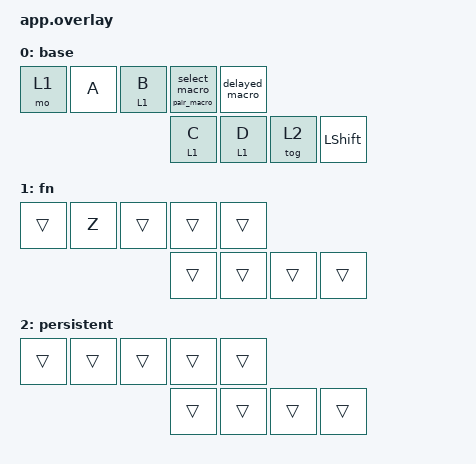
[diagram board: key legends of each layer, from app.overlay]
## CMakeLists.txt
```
cmake_minimum_required(VERSION 3.20.0)
list(APPEND DTS_ROOT "${CMAKE_CURRENT_SOURCE_DIR}/../../../app")
list(APPEND DTS_ROOT "${CMAKE_CURRENT_SOURCE_DIR}/../..")
get_filename_component(ZMK_APP "${CMAKE_CURRENT_SOURCE_DIR}/../../../app" ABSOLUTE)
# Zephyr assembles application-defined syscall parser inputs while find_package()
# runs. Seed the parser include path without replacing the test application's
# source directory (which must remain the test fixture for Kconfig discovery).
set(SYSCALL_INCLUDE_DIRS "${ZMK_APP}/include")
set(CONFIG_APPLICATION_DEFINED_SYSCALL true)
find_package(Zephyr REQUIRED HINTS $ENV{ZEPHYR_BASE})
project(k380_shutdown_behavior)

zephyr_syscall_include_directories("${ZMK_APP}/include")
zephyr_syscall_header(${ZMK_APP}/include/drivers/behavior.h)
zephyr_linker_sources(SECTIONS ${ZMK_APP}/include/linker/zmk-behaviors.ld)
zephyr_linker_sources(RODATA ${ZMK_APP}/include/linker/zmk-events.ld)
target_include_directories(app PRIVATE ../../include ${ZMK_APP}/include)
target_sources(app PRIVATE src/main.c ../../src/low_power.c
  ${ZMK_APP}/src/behavior.c ${ZMK_APP}/src/event_manager.c
  ${ZMK_APP}/src/shutdown_input.c
  src/hold_tap_fixture.c
  ${ZMK_APP}/src/hid.c ${ZMK_APP}/src/hid_listener.c
  ${ZMK_APP}/src/keymap.c ${ZMK_APP}/src/behavior_queue.c
  ${ZMK_APP}/src/behaviors/behavior_key_press.c
  ${ZMK_APP}/src/behaviors/behavior_momentary_layer.c
  ${ZMK_APP}/src/behaviors/behavior_toggle_layer.c
  ${ZMK_APP}/src/behaviors/behavior_transparent.c
  ${ZMK_APP}/src/behaviors/behavior_macro.c
  ${ZMK_APP}/src/behaviors/behavior_bt.c
  ${ZMK_APP}/src/events/position_state_changed.c
  ${ZMK_APP}/src/events/keycode_state_changed.c
  ${ZMK_APP}/src/events/layer_state_changed.c)
target_compile_definitions(app PRIVATE
  CONFIG_K380_LOW_POWER_TEST=1 CONFIG_K380_LOW_POWER_COORDINATOR=1
  CONFIG_ZMK_BEHAVIOR_HOLD_TAP=1 CONFIG_ZMK_BEHAVIOR_MACRO=1
  CONFIG_ZMK_BEHAVIOR_HOLD_TAP_MAX_HELD=10
  CONFIG_ZMK_BEHAVIOR_HOLD_TAP_MAX_CAPTURED_EVENTS=40
  CONFIG_ZMK_BEHAVIORS_QUEUE_SIZE=64
  CONFIG_ZMK_MACRO_DEFAULT_WAIT_MS=0 CONFIG_ZMK_MACRO_DEFAULT_TAP_MS=1
  CONFIG_ZMK_LOG_LEVEL=0 CONFIG_ZMK_HID_REPORT_TYPE_HKRO=1
  CONFIG_ZMK_HID_KEYBOARD_REPORT_SIZE=6 CONFIG_ZMK_HID_CONSUMER_REPORT_SIZE=6
  CONFIG_ZMK_HID_CONSUMER_REPORT_USAGES_FULL=1)
```

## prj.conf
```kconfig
CONFIG_ZTEST=y
CONFIG_APPLICATION_DEFINED_SYSCALL=y
CONFIG_K380_AUTO_SYSTEM_OFF=y
CONFIG_MAIN_STACK_SIZE=4096
CONFIG_SYSTEM_WORKQUEUE_STACK_SIZE=4096
```

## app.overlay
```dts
#include <dt-bindings/zmk/keys.h>
#include <dt-bindings/zmk/bt.h>
#include <dt-bindings/zmk/matrix_transform.h>
#include <behaviors/key_press.dtsi>
#include <behaviors/momentary_layer.dtsi>
#include <behaviors/toggle_layer.dtsi>
#include <behaviors/transparent.dtsi>
#include <behaviors/bluetooth.dtsi>
#include <behaviors/macros.dtsi>

/ {
    chosen { zmk,matrix-transform = &test_transform; };
    test_transform: test_transform {
        compatible = "zmk,matrix-transform";
        rows = <1>;
        columns = <9>;
        map = <RC(0,0) RC(0,1) RC(0,2) RC(0,3) RC(0,4)
               RC(0,5) RC(0,6) RC(0,7) RC(0,8)>;
    };
    behaviors {
        test_ht: test_ht {
            compatible = "zmk,behavior-hold-tap";
            #binding-cells = <2>;
            tapping-term-ms = <100>;
            flavor = "tap-preferred";
            bindings = <&mo>, <&kp>;
        };
        test_hwu: test_hwu {
            compatible = "zmk,behavior-hold-tap";
            #binding-cells = <2>;
            tapping-term-ms = <100>;
            flavor = "tap-preferred";
            hold-while-undecided;
            hold-while-undecided-linger;
            bindings = <&mo>, <&kp>;
        };
        test_retro: test_retro {
            compatible = "zmk,behavior-hold-tap";
            #binding-cells = <2>;
            tapping-term-ms = <100>;
            flavor = "tap-preferred";
            retro-tap;
            bindings = <&mo>, <&kp>;
        };
        bt_ht: bt_ht {
            compatible = "zmk,behavior-hold-tap";
            #binding-cells = <2>;
            tapping-term-ms = <100>;
            flavor = "tap-preferred";
            bindings = <&pair_macro>, <&select_macro>;
        };
        pair_macro: pair_macro {
            compatible = "zmk,behavior-macro-one-param";
            #binding-cells = <1>;
            bindings = <&bt BT_SEL 1>, <&bt BT_CLR>;
        };
        select_macro: select_macro {
            compatible = "zmk,behavior-macro-one-param";
            #binding-cells = <1>;
            bindings = <&bt BT_SEL 1>;
        };
        delayed_macro: delayed_macro {
            compatible = "zmk,behavior-macro";
            #binding-cells = <0>;
            bindings = <&macro_press>, <&macro_wait_time 200>, <&mo 1>,
                       <&macro_tap>, <&bt BT_SEL 1>, <&bt BT_CLR>;
        };
    };
    keymap {
        compatible = "zmk,keymap";
        base {
            bindings = <&mo 1 &kp A &test_ht 1 B &bt_ht 0 0 &delayed_macro
                        &test_hwu 1 C &test_retro 1 D &tog 2 &kp LSHIFT>;
        };
        fn {
            bindings = <&trans &kp Z &trans &trans &trans &trans &trans &trans &trans>;
        };
        persistent {
            bindings = <&trans &trans &trans &trans &trans &trans &trans &trans &trans>;
        };
    };
};
```

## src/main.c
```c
#include <errno.h>
#include <zephyr/ztest.h>
#include <zephyr/logging/log.h>
#include <dt-bindings/zmk/keys.h>
#include <dt-bindings/zmk/hid_usage.h>
#include <zmk/ble.h>
#include <zmk/behavior.h>
#include <zmk/behavior_queue.h>
#include <zmk/keymap.h>
#include <zmk/hid.h>
#include <zmk/shutdown_input.h>
#include <zmk/events/position_state_changed.h>
#include <zmk/events/keycode_state_changed.h>
#include <zmk_keyboard_k380/low_power.h>

LOG_MODULE_REGISTER(zmk, 0);

static int reports;
static int selects;
static int bond_writes;
static int quiet_presses;
static int b_presses;
static int abort_error;
static bool cancel_during_abort;
void shutdown_test_wait_timer_running(uint32_t position);

/* Only hardware/transport boundaries are replaced; keymap, dispatch, hold-tap,
 * macro, queue, event subscriptions and HID accounting are production sources. */
int zmk_physical_layouts_get_selected_to_stock_position_map(const uint32_t **map) {
    static const uint32_t positions[] = {0, 1, 2, 3, 4, 5, 6, 7, 8};
    *map = positions;
    return ARRAY_SIZE(positions);
}
void zmk_physical_layouts_abort_input(void) {}
int zmk_endpoint_send_report(uint16_t page) {
    ARG_UNUSED(page);
    reports++;
    return 0;
}
int k380_low_power_clear_hid(void) {
    zmk_hid_keyboard_clear_for_shutdown();
    zmk_hid_consumer_clear();
    return 0;
}
int k380_low_power_abort_input(void) {
    zassert_false(k380_low_power_input_events_allowed());
    if (abort_error) {
        return abort_error;
    }
    int ret = zmk_shutdown_input_abort();
    if (cancel_during_abort) {
        cancel_during_abort = false;
        k380_low_power_cancel_usb_pending();
        zassert_false(k380_low_power_input_events_allowed(), "cancel must await cleanup owner");
    }
    return ret;
}
int zmk_ble_prof_select(uint8_t slot) {
    ARG_UNUSED(slot);
    selects++;
    /* Reproduce the policy callback that formerly reopened quiet input. */
    k380_low_power_cancel_pending();
    return 0;
}
void zmk_ble_clear_bonds(void) { bond_writes++; }
void zmk_ble_clear_all_bonds(void) { bond_writes++; }
int zmk_ble_prof_next(void) { return zmk_ble_prof_select(1); }
int zmk_ble_prof_prev(void) { return zmk_ble_prof_select(0); }
int zmk_ble_prof_disconnect(uint8_t slot) { ARG_UNUSED(slot); return 0; }

static int observe_keycode(const zmk_event_t *eh) {
    const struct zmk_keycode_state_changed *ev = as_zmk_keycode_state_changed(eh);
    if (ev && ev->state && !k380_low_power_input_events_allowed()) {
        quiet_presses++;
    }
    if (ev && ev->state && ev->keycode == HID_USAGE_KEY_KEYBOARD_B) {
        b_presses++;
    }
    return ZMK_EV_EVENT_BUBBLE;
}
ZMK_LISTENER(shutdown_test_observer, observe_keycode);
ZMK_SUBSCRIPTION(shutdown_test_observer, zmk_keycode_state_changed);

static void position(uint32_t pos, bool pressed) {
    zassert_ok(raise_zmk_position_state_changed((struct zmk_position_state_changed){
        .source = ZMK_POSITION_STATE_CHANGE_SOURCE_LOCAL,
        .position = pos, .state = pressed, .timestamp = k_uptime_get()}));
}
static void begin_shutdown(void) {
    k380_low_power_test_set_all_keys_released(false);
    zassert_ok(k380_low_power_request(K380_SHUTDOWN_PAIRING_TIMEOUT));
    zassert_false(k380_low_power_input_events_allowed());
}
static void cancel_usb(void) {
    k380_low_power_cancel_usb_pending();
    zassert_true(k380_low_power_input_events_allowed());
}
static void assert_base_key(void) {
    position(1, true);
    zassert_true(zmk_hid_keyboard_is_pressed(HID_USAGE_KEY_KEYBOARD_A));
    zassert_false(zmk_hid_keyboard_is_pressed(HID_USAGE_KEY_KEYBOARD_Z));
    position(1, false);
}
static void reset(void *fixture) {
    ARG_UNUSED(fixture);
    abort_error = 0;
    cancel_during_abort = false;
    k380_low_power_test_reset();
    begin_shutdown();
    cancel_usb();
    zmk_keymap_layer_deactivate(1, true);
    zmk_keymap_layer_deactivate(2, true);
    reports = selects = bond_writes = quiet_presses = 0;
    b_presses = 0;
}

ZTEST(shutdown_behavior, test_fn_release_before_and_after_usb_cancel) {
    for (int before = 0; before < 2; before++) {
        position(0, true);
        zassert_true(zmk_keymap_layer_active(1));
        begin_shutdown();
        zassert_false(zmk_keymap_layer_active(1));
        int quiet_reports = reports;
        if (before) {
            position(0, false);
            k380_low_power_test_set_all_keys_released(true);
        }
        cancel_usb();
        if (!before) {
            position(0, false);
        }
        zassert_equal(reports, quiet_reports);
        assert_base_key();
    }
}

ZTEST(shutdown_behavior, test_undecided_and_decided_hold_taps_are_aborted) {
    for (int decided = 0; decided < 2; decided++) {
        position(2, true);
        if (decided) {
            k_msleep(130);
            zassert_true(zmk_keymap_layer_active(1));
        }
        begin_shutdown();
        position(2, false);
        k_msleep(130);
        zassert_false(zmk_keymap_layer_active(1));
        zassert_equal(quiet_presses, 0, "abort must never choose a tap");
        cancel_usb();
        assert_base_key();
    }
    /* Reuse more slots than the maximum held count, then verify a fresh tap. */
    for (int i = 0; i < 12; i++) {
        position(2, true);
        begin_shutdown();
        cancel_usb();
        position(2, false);
    }
    position(2, true);
    position(2, false);
    zassert_equal(b_presses, 1, "a fresh hold-tap must work after all aborted slots are reclaimed");
    zassert_equal(zmk_hid_get_keyboard_report()->body.modifiers, 0);
    zassert_false(zmk_keymap_layer_active(1));
    position(8, true);
    zassert_true(zmk_hid_keyboard_is_pressed(HID_USAGE_KEY_KEYBOARD_LEFTSHIFT));
    position(8, false);
    zassert_equal(zmk_hid_get_keyboard_report()->body.modifiers, 0);
}

ZTEST(shutdown_behavior, test_captured_other_position_is_discarded) {
    position(2, true);
    position(1, true);
    position(1, false);
    int before = reports;
    begin_shutdown();
    position(1, false);
    position(2, false);
    k_msleep(130);
    zassert_equal(reports, before);
    zassert_equal(quiet_presses, 0);
    cancel_usb();
    position(1, false); /* Captured down never received a behavior release. */
    zassert_equal(reports, before);
    assert_base_key();
}

ZTEST(shutdown_behavior, test_bt_timer_and_release_cannot_pair_select_or_cancel) {
    position(3, true);
    begin_shutdown();
    k_msleep(130);
    position(3, false);
    zassert_equal(selects, 0);
    zassert_equal(bond_writes, 0);
    zassert_false(k380_low_power_input_events_allowed());
    cancel_usb();
    k_msleep(130);
    zassert_equal(selects, 0);
    zassert_equal(bond_writes, 0);
    /* Confirm that the fixture really resolves the BLE select tap when READY. */
    position(3, true);
    position(3, false);
    k_msleep(10);
    zassert_equal(selects, 1);
}

ZTEST(shutdown_behavior, test_old_macro_queue_and_executed_layer_are_reclaimed) {
    position(4, true);
    zassert_true(zmk_keymap_layer_active(1));
    begin_shutdown();
    zassert_false(zmk_keymap_layer_active(1));
    cancel_usb();
    position(4, false);
    k_msleep(240);
    zassert_equal(selects, 0);
    zassert_equal(bond_writes, 0);
    assert_base_key();
}

ZTEST(shutdown_behavior, test_hold_while_undecided_and_retro_do_not_choose_tap) {
    for (int pos = 5; pos <= 6; pos++) {
        position(pos, true);
        if (pos == 5) {
            zassert_true(zmk_keymap_layer_active(1));
        } else {
            k_msleep(130);
            zassert_false(zmk_keymap_layer_active(1));
        }
        begin_shutdown();
        position(pos, false);
        zassert_false(zmk_keymap_layer_active(1));
        zassert_equal(quiet_presses, 0);
        cancel_usb();
        assert_base_key();
    }
}

ZTEST(shutdown_behavior, test_persistent_toggled_and_locked_layers_survive) {
    position(7, true);
    position(7, false);
    zassert_true(zmk_keymap_layer_active(2));
    position(0, true);
    zmk_keymap_layer_activate(1, true);
    begin_shutdown();
    zassert_true(zmk_keymap_layer_active(1));
    zassert_true(zmk_keymap_layer_locked(1));
    zassert_true(zmk_keymap_layer_active(2));
    cancel_usb();
    position(0, false);
    zassert_true(zmk_keymap_layer_active(1));
    zassert_true(zmk_keymap_layer_active(2));
}

ZTEST(shutdown_behavior, test_inflight_timer_acknowledges_abort_before_slot_reuse) {
    position(2, true);
    zmk_shutdown_input_lock();
    k_msleep(130); /* Timer is running but blocked on the lifecycle lock. */
    begin_shutdown();
    cancel_usb();
    position(2, true);
    position(2, false);
    zmk_shutdown_input_unlock();
    k_msleep(10);
    zassert_equal(b_presses, 1, "release must find the new slot, never a retired timer slot");
    zassert_false(zmk_keymap_layer_active(1));
    assert_base_key();
}

ZTEST(shutdown_behavior, test_normal_release_retires_running_timer_before_next_bt_press) {
    position(2, true);
    zmk_shutdown_input_lock();
    shutdown_test_wait_timer_running(2);
    position(2, false);
    position(3, true);
    zmk_shutdown_input_unlock();

    /* Drain the stale running callback, not the new key's future delayed timer. */
    zassert_true(k_work_queue_drain(&k_sys_work_q, false) >= 0);
    zassert_equal(selects, 0, "old timer must not decide the fresh BT hold-tap");
    zassert_equal(bond_writes, 0);
    zassert_false(zmk_keymap_layer_active(1));

    position(3, false);
    k_msleep(10);
    zassert_equal(selects, 1, "fresh short BT release must select exactly once");
    zassert_equal(bond_writes, 0, "fresh short BT release must never pair/clear bonds");
}

ZTEST(shutdown_behavior, test_failed_barrier_stays_closed_and_concurrent_cancel_is_deferred) {
    position(0, true);
    abort_error = -EBUSY;
    k380_low_power_test_set_all_keys_released(false);
    zassert_equal(k380_low_power_request(K380_SHUTDOWN_PAIRING_TIMEOUT), -EBUSY);
    k380_low_power_cancel_usb_pending();
    zassert_false(k380_low_power_input_events_allowed());
    abort_error = 0;
    cancel_usb();
    zassert_false(zmk_keymap_layer_active(1));
    assert_base_key();

    position(0, true);
    cancel_during_abort = true;
    k380_low_power_test_set_all_keys_released(false);
    zassert_equal(k380_low_power_request(K380_SHUTDOWN_PAIRING_TIMEOUT), -ECANCELED);
    zassert_true(k380_low_power_input_events_allowed());
    zassert_false(zmk_keymap_layer_active(1));
    assert_base_key();
}

ZTEST_SUITE(shutdown_behavior, NULL, NULL, reset, NULL, NULL);
```

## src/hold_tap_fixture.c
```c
#include <zephyr/ztest.h>

/* Compile the unchanged production owner here so a test utility can observe its
 * private delayed-work state without exposing test hooks in the production API. */
#include "../../../../app/src/behaviors/behavior_hold_tap.c"

void shutdown_test_wait_timer_running(uint32_t position) {
    struct active_hold_tap *hold_tap = find_hold_tap(position);
    zassert_not_null(hold_tap);
    for (int i = 0; i < 200; i++) {
        if (k_work_busy_get(&hold_tap->work.work) & K_WORK_RUNNING) {
            return;
        }
        k_msleep(5);
    }
    zassert_unreachable("Hold-tap timer never became running while dispatch was locked");
}
```
